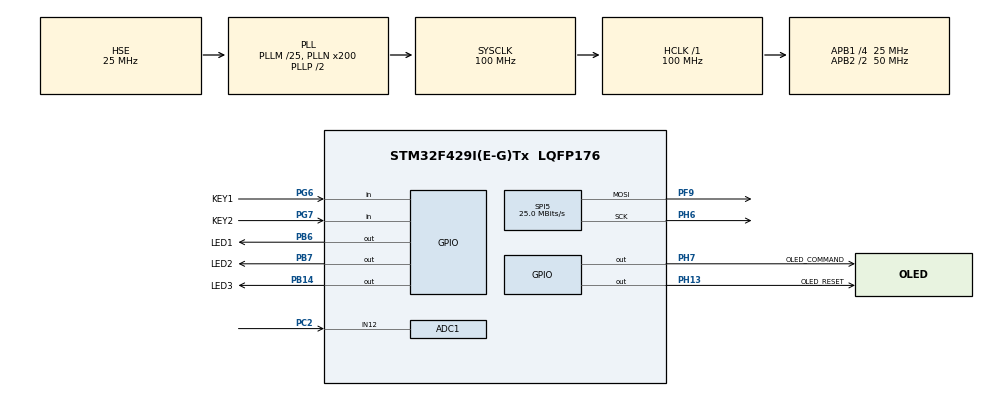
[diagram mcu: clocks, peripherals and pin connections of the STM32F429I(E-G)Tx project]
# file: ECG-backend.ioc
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ADC1.Channel-0\#ChannelRegularConversion=ADC_CHANNEL_12
ADC1.DMAContinuousRequests=ENABLE
ADC1.ExternalTrigConv=ADC_EXTERNALTRIGCONV_T2_TRGO
ADC1.NbrOfConversionFlag=1
ADC1.Rank-0\#ChannelRegularConversion=1
ADC1.SamplingTime-0\#ChannelRegularConversion=ADC_SAMPLETIME_144CYCLES
ADC1.master=1
Dma.ADC1.0.Direction=DMA_PERIPH_TO_MEMORY
Dma.ADC1.0.FIFOMode=DMA_FIFOMODE_DISABLE
Dma.ADC1.0.Instance=DMA2_Stream0
Dma.ADC1.0.MemDataAlignment=DMA_MDATAALIGN_HALFWORD
Dma.ADC1.0.MemInc=DMA_MINC_ENABLE
Dma.ADC1.0.Mode=DMA_CIRCULAR
Dma.ADC1.0.PeriphDataAlignment=DMA_PDATAALIGN_HALFWORD
Dma.ADC1.0.PeriphInc=DMA_PINC_DISABLE
Dma.ADC1.0.Priority=DMA_PRIORITY_VERY_HIGH
Dma.Request0=ADC1
Dma.Request1=SPI5_TX
Dma.SPI5_TX.1.Direction=DMA_MEMORY_TO_PERIPH
Dma.SPI5_TX.1.FIFOMode=DMA_FIFOMODE_DISABLE
Dma.SPI5_TX.1.Instance=DMA2_Stream4
Dma.SPI5_TX.1.MemDataAlignment=DMA_MDATAALIGN_BYTE
Dma.SPI5_TX.1.MemInc=DMA_MINC_ENABLE
Dma.SPI5_TX.1.Mode=DMA_NORMAL
Dma.SPI5_TX.1.PeriphDataAlignment=DMA_PDATAALIGN_BYTE
Dma.SPI5_TX.1.PeriphInc=DMA_PINC_DISABLE
Dma.SPI5_TX.1.Priority=DMA_PRIORITY_HIGH
Mcu.Family=STM32F4
Mcu.Name=STM32F429I(E-G)Tx
Mcu.Package=LQFP176
NVIC.DMA2_Stream0_IRQn=true\:0\:0\:false\:false\:true\:false\:true\:true
NVIC.DMA2_Stream4_IRQn=true\:0\:0\:false\:false\:true\:false\:true\:true
NVIC.PriorityGroup=NVIC_PRIORITYGROUP_4
PB14.GPIO_Label=LED3
PB14.GPIO_PuPd=GPIO_NOPULL
PB14.GPIO_Speed=GPIO_SPEED_FREQ_LOW
PB14.PinState=GPIO_PIN_RESET
PB14.Signal=GPIO_Output
PB6.GPIO_Label=LED1
PB6.GPIO_PuPd=GPIO_NOPULL
PB6.GPIO_Speed=GPIO_SPEED_FREQ_LOW
PB6.PinState=GPIO_PIN_RESET
PB6.Signal=GPIO_Output
PB7.GPIO_Label=LED2
PB7.GPIO_PuPd=GPIO_NOPULL
PB7.GPIO_Speed=GPIO_SPEED_FREQ_LOW
PB7.PinState=GPIO_PIN_RESET
PB7.Signal=GPIO_Output
PC2.Signal=ADCx_IN12
PF9.GPIO_PuPd=GPIO_PULLUP
PF9.Mode=TX_Only_Simplex_Unidirect_Master
PF9.Signal=SPI5_MOSI
PG6.GPIO_Label=KEY1
PG6.GPIO_PuPd=GPIO_PULLUP
PG6.Signal=GPIO_Input
PG7.GPIO_Label=KEY2
PG7.GPIO_PuPd=GPIO_PULLUP
PG7.Signal=GPIO_Input
PH0/OSC_IN.Mode=HSE-External-Oscillator
PH0/OSC_IN.Signal=RCC_OSC_IN
PH1/OSC_OUT.Mode=HSE-External-Oscillator
PH1/OSC_OUT.Signal=RCC_OSC_OUT
PH13.GPIO_Label=OLED_RESET
PH13.GPIO_PuPd=GPIO_PULLUP
PH13.GPIO_Speed=GPIO_SPEED_FREQ_VERY_HIGH
PH13.Signal=GPIO_Output
PH6.GPIO_PuPd=GPIO_PULLUP
PH6.Mode=TX_Only_Simplex_Unidirect_Master
PH6.Signal=SPI5_SCK
PH7.GPIO_Label=OLED_COMMAND
PH7.GPIO_PuPd=GPIO_PULLUP
PH7.GPIO_Speed=GPIO_SPEED_FREQ_VERY_HIGH
PH7.PinState=GPIO_PIN_SET
PH7.Signal=GPIO_Output
ProjectManager.HeapSize=0x200
ProjectManager.StackSize=0x400
ProjectManager.TargetToolchain=CMake
RCC.48MHZClocksFreq_Value=50000000
RCC.AHBFreq_Value=100000000
RCC.APB1CLKDivider=RCC_HCLK_DIV4
RCC.APB1Freq_Value=25000000
RCC.APB1TimFreq_Value=50000000
RCC.APB2CLKDivider=RCC_HCLK_DIV2
RCC.APB2Freq_Value=50000000
RCC.APB2TimFreq_Value=100000000
RCC.CortexFreq_Value=100000000
RCC.HCLKFreq_Value=100000000
RCC.HSE_VALUE=25000000
RCC.HSI_VALUE=16000000
RCC.LSE_VALUE=32768
RCC.PLLM=25
RCC.PLLN=200
RCC.PLLSourceVirtual=RCC_PLLSOURCE_HSE
RCC.SYSCLKFreq_VALUE=100000000
RCC.SYSCLKSource=RCC_SYSCLKSOURCE_PLLCLK
RCC.VCOOutputFreq_Value=200000000
SH.ADCx_IN12.0=ADC1_IN12,IN12
SPI5.CalculateBaudRate=25.0 MBits/s
SPI5.Direction=SPI_DIRECTION_2LINES
SPI5.Mode=SPI_MODE_MASTER
SPI5.VirtualType=VM_MASTER
TIM2.AutoReloadPreload=TIM_AUTORELOAD_PRELOAD_ENABLE
TIM2.Period=249
TIM2.Prescaler=9
TIM2.TIM_MasterOutputTrigger=TIM_TRGO_UPDATE
VP_TIM2_VS_ClockSourceINT.Mode=Internal
board=custom

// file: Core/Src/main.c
/* USER CODE BEGIN Header */
/**
  ******************************************************************************
  * @file           : main.c
  * @brief          : Main program body
  ******************************************************************************
  * @attention
  *
  * Copyright (c) 2026 STMicroelectronics.
  * All rights reserved.
  *
  * This software is licensed under terms that can be found in the LICENSE file
  * in the root directory of this software component.
  * If no LICENSE file comes with this software, it is provided AS-IS.
  *
  ******************************************************************************
  */
/* USER CODE END Header */
#include "main.h"
#include "adc.h"
#include "dma.h"
#include "spi.h"
#include "tim.h"
#include "gpio.h"
#include "delay.h"
#include "IIR.h"
#include "ecg_acquisition.h"
#include "ecg_display.h"
#include "ecg_measure.h"
#include "ecg_rpeak.h"
#include "ecg_signal.h"
#include "heart_rate.h"
#include "key_input.h"
#if defined(ECG_STAGE2_HIL)
#include "ecg_stage2_hil.h"
#endif
#if defined(ECG_STAGE3_HIL)
#include "ecg_stage3_hil.h"
#endif

/* USER CODE BEGIN PTD */
typedef enum
{
  ECG_FAULT_SYSTEM_INIT = 0U,
  ECG_FAULT_GPIO_INIT,
  ECG_FAULT_DMA_INIT,
  ECG_FAULT_SPI_INIT,
  ECG_FAULT_LCD_INIT,
  ECG_FAULT_LCD_DRAW,
  ECG_FAULT_ADC_INIT,
  ECG_FAULT_TIM_INIT,
  ECG_FAULT_CLOCK_CONFIG,
  ECG_FAULT_ACQUISITION_START,
  ECG_FAULT_DMA_OVERRUN,
  ECG_FAULT_BLOCK_RELEASE,
  ECG_FAULT_ACQUISITION_API,
  ECG_FAULT_SIGNAL_FILTER,
#if defined(ECG_STAGE2_HIL)
  ECG_FAULT_HIL_CAPTURE_STOP
#endif
} ECG_FaultReason;

/* USER CODE END PTD */

/* USER CODE BEGIN PV */
static ECG_RPeakDetector g_rpeak_detector;
static ECG_HeartRate g_heart_rate;
static ECG_MeasureState g_measure_state;
static ECG_KeyInput g_key1;
static ECG_KeyInput g_key2;
static ECG_DownsamplerState g_downsampler;
static uint8_t g_signal_initialized = 0U;
static float32_t g_filtered_buffer[ECG_DMA_HALF_LENGTH];
static float32_t g_downsampled_buffer[
    (ECG_DMA_HALF_LENGTH + ECG_DOWNSAMPLE_FACTOR - 1U) / ECG_DOWNSAMPLE_FACTOR];
static uint32_t g_sample_index = 0U;
static uint8_t g_lcd_initialized = 0U;
static uint8_t g_acquisition_started = 0U;
volatile ECG_FaultReason g_ecg_fault_reason = ECG_FAULT_SYSTEM_INIT;
volatile uint32_t g_ecg_fault_detail;
volatile uint32_t g_ecg_shutdown_status;

/* USER CODE END PV */

static void ECG_InitializeTopLevelModules(void);
static ECG_DisplayStatus ECG_ProcessSampleBlock(const ECG_SampleBlock *block,
                                                ECG_DisplayState *display_state);
static void ECG_UpdateKeyThresholds(ECG_DisplayState *display_state);
static void ECG_StopWithFault(ECG_FaultReason reason, uint32_t detail);
#if defined(ECG_STAGE2_HIL)
static void ECG_Stage2HIL_StopAcquisition(void);
#endif
void SystemClock_Config(void);

int main(void)
{

  /* MCU Configuration--------------------------------------------------------*/

  /* Reset of all peripherals, Initializes the Flash interface and the Systick. */
  HAL_Init();

  /* Configure the system clock */
  SystemClock_Config();

  /* Initialize all configured peripherals */
  g_ecg_fault_reason = ECG_FAULT_GPIO_INIT;
  MX_GPIO_Init();
  g_ecg_fault_reason = ECG_FAULT_DMA_INIT;
  MX_DMA_Init();
  g_ecg_fault_reason = ECG_FAULT_SPI_INIT;
  MX_SPI5_Init();
  delay_init(100U);
  g_ecg_fault_reason = ECG_FAULT_LCD_INIT;
  LCD_Init();
  g_lcd_initialized = 1U;

  ECG_DisplayState display_state;
  ECG_Display_Init(&display_state);
  ECG_DisplayStatus threshold_status =
      ECG_Display_UpdateThreshold(&display_state,
                                 ECG_RPEAK_DEFAULT_THRESHOLD_MV);
  if (threshold_status != ECG_DISPLAY_STATUS_OK)
  {
    ECG_StopWithFault(ECG_FAULT_LCD_DRAW, (uint32_t)threshold_status);
  }
  const ECG_DisplayStatus display_status =
      ECG_Display_DrawStaticFrame(&display_state);
  if (display_status != ECG_DISPLAY_STATUS_OK)
  {
    ECG_StopWithFault(ECG_FAULT_LCD_DRAW, (uint32_t)display_status);
  }

  g_ecg_fault_reason = ECG_FAULT_ADC_INIT;
  MX_ADC1_Init();
  g_ecg_fault_reason = ECG_FAULT_TIM_INIT;
  MX_TIM2_Init();
  ECG_InitializeTopLevelModules();
#if defined(ECG_STAGE2_HIL)
  ECG_Stage2HIL_Init();
#endif
#if defined(ECG_STAGE3_HIL)
  ECG_Stage3HIL_Init();
#endif
  g_ecg_fault_reason = ECG_FAULT_SYSTEM_INIT;

  /* USER CODE BEGIN 2 */
  const HAL_StatusTypeDef acquisition_status = ECG_Acquisition_Start();
  if (acquisition_status != HAL_OK)
  {
    ECG_StopWithFault(ECG_FAULT_ACQUISITION_START,
                      (uint32_t)acquisition_status);
  }
  g_acquisition_started = 1U;

  /* USER CODE END 2 */

  /* Infinite loop */
  /* USER CODE BEGIN WHILE */
  while (1)
  {
#if defined(ECG_STAGE2_HIL)
    if (g_ecg_stage2_hil_capture.acquisition_stopped != 0U)
    {
      __WFI();
      continue;
    }
#endif

    ECG_SampleBlock block;
    const ECG_AcquisitionResult block_result =
        ECG_Acquisition_TryGetBlock(&block);

    if (block_result == ECG_ACQUISITION_RESULT_BLOCK_READY)
    {
#if defined(ECG_STAGE2_HIL)
      const uint32_t ready_start_cycles =
          ECG_Stage2HIL_GetCycleCount();
#endif
      const ECG_DisplayStatus display_status =
          ECG_ProcessSampleBlock(&block, &display_state);
      if (display_status != ECG_DISPLAY_STATUS_OK)
      {
        ECG_StopWithFault(ECG_FAULT_LCD_DRAW, (uint32_t)display_status);
      }
      if (ECG_Acquisition_ReleaseBlock(block.half) == 0U)
      {
        ECG_StopWithFault(ECG_FAULT_BLOCK_RELEASE, (uint32_t)block.half);
      }
#if defined(ECG_STAGE2_HIL)
      ECG_Stage2HIL_RecordReadyToRelease(
          ECG_Stage2HIL_GetCycleCount() - ready_start_cycles);
#if defined(ECG_STAGE3_HIL)
      if (ECG_Stage3HIL_IsCaptureComplete() != 0U)
#else
      if (ECG_Stage2HIL_IsCaptureComplete() != 0U)
#endif
      {
        ECG_Stage2HIL_StopAcquisition();
      }
#endif
      HAL_GPIO_TogglePin(LED1_GPIO_Port, LED1_Pin);
    }
    else if (block_result == ECG_ACQUISITION_RESULT_FAULT_LATCHED)
    {
#if defined(ECG_STAGE2_HIL)
      g_ecg_stage2_hil_capture.dma_overrun_count =
          ECG_Acquisition_GetOverrunCount();
#endif
      ECG_StopWithFault(ECG_FAULT_DMA_OVERRUN,
                        ECG_Acquisition_GetOverrunCount());
    }
    else if (block_result == ECG_ACQUISITION_RESULT_BLOCK_ACTIVE)
    {
      ECG_StopWithFault(ECG_FAULT_ACQUISITION_API,
                        (uint32_t)block_result);
    }
    else if (block_result != ECG_ACQUISITION_RESULT_NO_BLOCK)
    {
      ECG_StopWithFault(ECG_FAULT_ACQUISITION_API,
                        (uint32_t)block_result);
    }

    ECG_UpdateKeyThresholds(&display_state);

#if defined(ECG_STAGE2_HIL)
    const uint32_t lcd_service_start_cycles =
        ECG_Stage2HIL_GetCycleCount();
#endif
    const ECG_DisplayStatus display_service_status =
        ECG_Display_Service(&display_state);
#if defined(ECG_STAGE2_HIL)
    ECG_Stage2HIL_RecordLCDService(
        ECG_Stage2HIL_GetCycleCount() - lcd_service_start_cycles);
#endif
    if (display_service_status != ECG_DISPLAY_STATUS_OK)
    {
      ECG_StopWithFault(ECG_FAULT_LCD_DRAW,
                        (uint32_t)display_service_status);
    }

    /* USER CODE END WHILE */

  }
}

void SystemClock_Config(void)
{
  RCC_OscInitTypeDef RCC_OscInitStruct = {0};
  RCC_ClkInitTypeDef RCC_ClkInitStruct = {0};

  /** Configure the main internal regulator output voltage
  */
  __HAL_RCC_PWR_CLK_ENABLE();
  __HAL_PWR_VOLTAGESCALING_CONFIG(PWR_REGULATOR_VOLTAGE_SCALE3);

  /** Initializes the RCC Oscillators according to the specified parameters
  * in the RCC_OscInitTypeDef structure.
  */
  RCC_OscInitStruct.OscillatorType = RCC_OSCILLATORTYPE_HSE;
  RCC_OscInitStruct.HSEState = RCC_HSE_ON;
  RCC_OscInitStruct.PLL.PLLState = RCC_PLL_ON;
  RCC_OscInitStruct.PLL.PLLSource = RCC_PLLSOURCE_HSE;
  RCC_OscInitStruct.PLL.PLLM = 25;
  RCC_OscInitStruct.PLL.PLLN = 200;
  RCC_OscInitStruct.PLL.PLLP = RCC_PLLP_DIV2;
  RCC_OscInitStruct.PLL.PLLQ = 4;
  if (HAL_RCC_OscConfig(&RCC_OscInitStruct) != HAL_OK)
  {
    ECG_StopWithFault(ECG_FAULT_CLOCK_CONFIG, 1U);
  }

  /** Initializes the CPU, AHB and APB buses clocks
  */
  RCC_ClkInitStruct.ClockType = RCC_CLOCKTYPE_HCLK|RCC_CLOCKTYPE_SYSCLK
                              |RCC_CLOCKTYPE_PCLK1|RCC_CLOCKTYPE_PCLK2;
  RCC_ClkInitStruct.SYSCLKSource = RCC_SYSCLKSOURCE_PLLCLK;
  RCC_ClkInitStruct.AHBCLKDivider = RCC_SYSCLK_DIV1;
  RCC_ClkInitStruct.APB1CLKDivider = RCC_HCLK_DIV4;
  RCC_ClkInitStruct.APB2CLKDivider = RCC_HCLK_DIV2;

  if (HAL_RCC_ClockConfig(&RCC_ClkInitStruct, FLASH_LATENCY_3) != HAL_OK)
  {
    ECG_StopWithFault(ECG_FAULT_CLOCK_CONFIG, 2U);
  }
}

/* USER CODE BEGIN 4 */
static void ECG_StopWithFault(ECG_FaultReason reason, uint32_t detail)
{
  g_ecg_fault_reason = reason;
  g_ecg_fault_detail = detail;
  Error_Handler();
}

#if defined(ECG_STAGE2_HIL)
static void ECG_Stage2HIL_StopAcquisition(void)
{
  const HAL_StatusTypeDef tim_status = HAL_TIM_Base_Stop(&htim2);
  const HAL_StatusTypeDef adc_status = HAL_ADC_Stop_DMA(&hadc1);

  if (tim_status != HAL_OK)
  {
    g_ecg_shutdown_status |= 1U;
  }
  if (adc_status != HAL_OK)
  {
    g_ecg_shutdown_status |= 2U;
  }

  g_acquisition_started = 0U;
  ECG_Stage2HIL_RecordStop(tim_status, adc_status,
                           ECG_Acquisition_GetOverrunCount());
  if ((tim_status != HAL_OK) || (adc_status != HAL_OK))
  {
    const uint32_t detail = ((uint32_t)tim_status << 16U) |
                            (uint32_t)adc_status;
    ECG_StopWithFault(ECG_FAULT_HIL_CAPTURE_STOP, detail);
  }
}
#endif

static void ECG_InitializeTopLevelModules(void)
{
  ECG_RPeak_Init(&g_rpeak_detector);
  ECG_HeartRate_Init(&g_heart_rate);
  ECG_Measure_Init(&g_measure_state);
  ECG_KeyInput_Init(&g_key1);
  ECG_KeyInput_Init(&g_key2);
  ECG_Signal_Downsampler_Init(&g_downsampler);
  IIR_Notch_Init();
  g_signal_initialized = 1U;
}

static ECG_DisplayStatus ECG_ProcessSampleBlock(const ECG_SampleBlock *block,
                                                ECG_DisplayState *display_state)
{
  if ((block == NULL) || (block->samples == NULL) ||
      (block->sample_count == 0U) || (display_state == NULL))
  {
    return ECG_DISPLAY_STATUS_INVALID_ARGUMENT;
  }

  uint32_t display_bpm = (uint32_t)display_state->latest_bpm;
  float32_t display_peak_to_peak_mv = display_state->latest_peak_to_peak_mv;
  uint8_t metrics_changed = 0U;

#if defined(ECG_STAGE2_HIL)
  const uint32_t process_start_cycles =
      ECG_Stage2HIL_GetCycleCount();
  const uint32_t downsampler_phase_before =
      g_downsampler.samples_in_group;
#endif

  uint32_t converted_count = 0U;
  const uint32_t block_start = block->first_sample_index;
  const uint32_t block_end = block_start + block->sample_count;

  for (uint32_t index = 0U; index < block->sample_count; ++index)
  {
    const uint32_t sample_index = block_start + index;
    float32_t millivolts = 0.0f;
    ECG_Signal_AdcCodeToMillivolts(block->samples[index], &millivolts);
    g_filtered_buffer[index] = millivolts;
    g_sample_index = sample_index;
  }

#if defined(ECG_STAGE2_HIL)
  ECG_Stage2HIL_CaptureRawBlock(block, g_filtered_buffer);
#endif

  const uint32_t first_output_index_before =
      g_downsampler.output_sample_count;
  converted_count = ECG_Signal_DownsampleAverage(&g_downsampler,
                                                g_filtered_buffer,
                                                block->sample_count,
                                                g_downsampled_buffer,
                                                (uint32_t)(sizeof(g_downsampled_buffer) / sizeof(g_downsampled_buffer[0])));
#if defined(ECG_STAGE2_HIL)
  ECG_Stage2HIL_CaptureDecimatedInput(g_downsampled_buffer,
                                      converted_count);
#endif

  IIR_NotchStatus filter_status;
#if defined(ECG_STAGE2_HIL_INJECT_FILTER_ERROR)
  filter_status = IIR_Notch_Process(g_downsampled_buffer,
                                    IIR_NOTCH_MAX_BLOCK_SIZE + 1U);
#else
  filter_status = IIR_Notch_Process(g_downsampled_buffer, converted_count);
#endif
  if (filter_status != IIR_NOTCH_STATUS_OK)
  {
#if defined(ECG_STAGE2_HIL)
    ECG_Stage2HIL_RecordBlock(block, downsampler_phase_before,
                              g_downsampler.samples_in_group,
                              converted_count, filter_status,
                              g_downsampled_buffer, process_start_cycles);
#endif
    ECG_StopWithFault(ECG_FAULT_SIGNAL_FILTER, (uint32_t)filter_status);
  }

  for (uint32_t index = 0U; index < converted_count; ++index)
  {
    /* output_sample_count is the continuous 1 kHz counter owned by the decimator.
     * Deriving it from DMA indices would depend on block alignment and could reset
     * or duplicate timestamps at block boundaries. */
    const uint32_t sample_index_1k = first_output_index_before + index;
    ECG_Measure_ProcessSample(&g_measure_state, sample_index_1k,
                              g_downsampled_buffer[index]);

    ECG_RPeakEvent event;
    if (ECG_RPeak_ProcessSample(&g_rpeak_detector,
                                g_downsampled_buffer[index],
                                sample_index_1k,
                                &event) != 0U)
    {
      ECG_HeartRateResult heart_rate_result;
      ECG_BeatMeasurement measurement;
      ECG_HeartRate_OnPeak(&g_heart_rate, event.sample_index,
                           &heart_rate_result);
      (void)ECG_Measure_OnRPeak(&g_measure_state, event.sample_index,
                                &measurement);
      if (heart_rate_result.average_bpm != display_bpm)
      {
        display_bpm = heart_rate_result.average_bpm;
        metrics_changed = 1U;
      }
      if ((measurement.valid != 0U) &&
          (measurement.peak_to_peak_mv != display_peak_to_peak_mv))
      {
        display_peak_to_peak_mv = measurement.peak_to_peak_mv;
        metrics_changed = 1U;
      }
#if defined(ECG_STAGE3_HIL)
      ECG_Stage3HIL_RecordPeak(&event, &heart_rate_result, &measurement);
#endif
    }
  }

#if defined(ECG_STAGE3_HIL)
  ECG_Stage3HIL_RecordSamples(converted_count);
#endif

#if defined(ECG_STAGE2_HIL)
  ECG_Stage2HIL_RecordBlock(block, downsampler_phase_before,
                            g_downsampler.samples_in_group,
                            converted_count, filter_status,
                            g_downsampled_buffer, process_start_cycles);
#endif

  const ECG_DisplayStatus display_status =
      ECG_Display_UpdateWaveform(display_state, g_downsampled_buffer,
                                 converted_count);
  if (display_status != ECG_DISPLAY_STATUS_OK)
  {
    return display_status;
  }
  if (metrics_changed != 0U)
  {
    ECG_Display_UpdateMetrics(display_state, display_bpm,
                              display_peak_to_peak_mv);
  }

  (void)block_end;
  return ECG_DISPLAY_STATUS_OK;
}

static void ECG_UpdateKeyThresholds(ECG_DisplayState *display_state)
{
  const uint32_t now_ms = HAL_GetTick();
  ECG_KeyEvent key1_event = ECG_KeyInput_Update(&g_key1, now_ms,
                                               (uint8_t)(HAL_GPIO_ReadPin(KEY1_GPIO_Port, KEY1_Pin) == GPIO_PIN_RESET));
  ECG_KeyEvent key2_event = ECG_KeyInput_Update(&g_key2, now_ms,
                                               (uint8_t)(HAL_GPIO_ReadPin(KEY2_GPIO_Port, KEY2_Pin) == GPIO_PIN_RESET));

  if (key1_event != ECG_KEY_EVENT_NONE)
  {
    ECG_RPeak_ApplyKeyStep(&g_rpeak_detector, key1_event, 1U);
  }

  if (key2_event != ECG_KEY_EVENT_NONE)
  {
    ECG_RPeak_ApplyKeyStep(&g_rpeak_detector, key2_event, 0U);
  }

  const ECG_DisplayStatus display_status =
      ECG_Display_UpdateThreshold(display_state,
                                  ECG_RPeak_GetThreshold(&g_rpeak_detector));
  if (display_status != ECG_DISPLAY_STATUS_OK)
  {
    ECG_StopWithFault(ECG_FAULT_LCD_DRAW, (uint32_t)display_status);
  }
}

/* USER CODE END 4 */

void Error_Handler(void)
{
  /* USER CODE BEGIN Error_Handler_Debug */
  static const uint8_t system_init_message[] = "SYSTEM INIT ERROR";
  static const uint8_t gpio_init_message[] = "GPIO INIT ERROR";
  static const uint8_t dma_init_message[] = "DMA INIT ERROR";
  static const uint8_t spi_init_message[] = "SPI INIT ERROR";
  static const uint8_t lcd_init_message[] = "LCD INIT ERROR";
  static const uint8_t lcd_draw_message[] = "LCD DRAW ERROR";
  static const uint8_t adc_init_message[] = "ADC INIT ERROR";
  static const uint8_t tim_init_message[] = "TIM INIT ERROR";
  static const uint8_t clock_message[] = "CLOCK CONFIG ERROR";
  static const uint8_t acquisition_start_message[] = "ACQ START FAILED";
  static const uint8_t overrun_message[] = "DMA OVERRUN";
  static const uint8_t release_message[] = "BLOCK RELEASE ERROR";
  static const uint8_t api_message[] = "ACQ API ERROR";
  static const uint8_t filter_message[] = "FILTER ERROR";
#if defined(ECG_STAGE2_HIL)
  static const uint8_t hil_stop_message[] = "HIL CAPTURE STOP ERROR";
#endif
  const uint8_t *fault_message = system_init_message;

  if (g_acquisition_started != 0U)
  {
    if (HAL_TIM_Base_Stop(&htim2) != HAL_OK)
    {
      g_ecg_shutdown_status |= 1U;
    }
    if (HAL_ADC_Stop_DMA(&hadc1) != HAL_OK)
    {
      g_ecg_shutdown_status |= 2U;
    }
    g_acquisition_started = 0U;
  }

  switch (g_ecg_fault_reason)
  {
    case ECG_FAULT_GPIO_INIT:
      fault_message = gpio_init_message;
      break;
    case ECG_FAULT_DMA_INIT:
      fault_message = dma_init_message;
      break;
    case ECG_FAULT_SPI_INIT:
      fault_message = spi_init_message;
      break;
    case ECG_FAULT_LCD_INIT:
      fault_message = lcd_init_message;
      break;
    case ECG_FAULT_LCD_DRAW:
      fault_message = lcd_draw_message;
      break;
    case ECG_FAULT_ADC_INIT:
      fault_message = adc_init_message;
      break;
    case ECG_FAULT_TIM_INIT:
      fault_message = tim_init_message;
      break;
    case ECG_FAULT_CLOCK_CONFIG:
      fault_message = clock_message;
      break;
    case ECG_FAULT_ACQUISITION_START:
      fault_message = acquisition_start_message;
      break;
    case ECG_FAULT_DMA_OVERRUN:
      fault_message = overrun_message;
      break;
    case ECG_FAULT_BLOCK_RELEASE:
      fault_message = release_message;
      break;
    case ECG_FAULT_ACQUISITION_API:
      fault_message = api_message;
      break;
    case ECG_FAULT_SIGNAL_FILTER:
      fault_message = filter_message;
      break;
#if defined(ECG_STAGE2_HIL)
    case ECG_FAULT_HIL_CAPTURE_STOP:
      fault_message = hil_stop_message;
      break;
#endif
    case ECG_FAULT_SYSTEM_INIT:
    default:
      fault_message = system_init_message;
      break;
  }

  if (g_lcd_initialized != 0U)
  {
    LCD_Fill(0U, 0U, ECG_DISPLAY_WIDTH, ECG_DISPLAY_HEIGHT, BLACK);
    LCD_ShowString(12U, 48U, (const uint8_t *)"SYSTEM HALTED",
                   RED, BLACK, 16U, 0U);
    LCD_ShowString(12U, 88U, fault_message, WHITE, BLACK, 16U, 0U);
    if (g_ecg_fault_reason == ECG_FAULT_SIGNAL_FILTER)
    {
      LCD_ShowString(12U, 120U, (const uint8_t *)"STATUS",
                     YELLOW, BLACK, 16U, 0U);
      LCD_ShowIntNum(90U, 120U, g_ecg_fault_detail, 2U,
                     YELLOW, BLACK, 16U);
    }
    if (g_ecg_shutdown_status == 0U)
    {
      LCD_ShowString(12U, 144U, (const uint8_t *)"RESET BOARD",
                     YELLOW, BLACK, 16U, 0U);
    }
    else
    {
      LCD_ShowString(12U, 144U, (const uint8_t *)"STOP FAILED",
                     YELLOW, BLACK, 16U, 0U);
    }
  }

  __disable_irq();
  while (1)
  {
  }
  /* USER CODE END Error_Handler_Debug */
}
